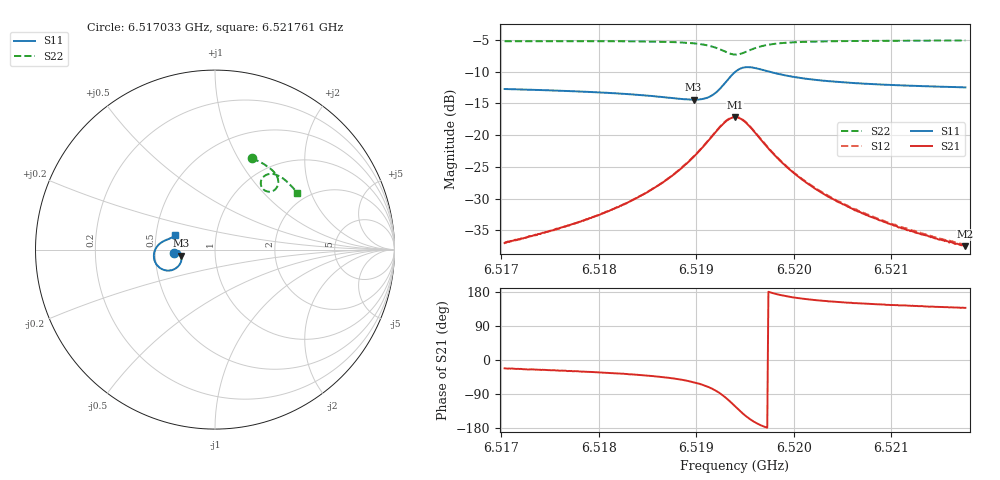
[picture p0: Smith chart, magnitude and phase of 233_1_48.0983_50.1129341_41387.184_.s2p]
#  HZ  S  RI  R  50.00
! Rohde & Schwarz Vector Network Analyzer
! Rohde-Schwarz,ZNB20-2Port,1311601062101988,3.16
! Created: UTC 12/23/2023, 3:57:59 AM
! freq[Hz]  re:S11  im:S11  re:S21  im:S21  re:S12  im:S12  re:S22  im:S22
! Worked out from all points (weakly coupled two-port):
!   401 points, 6.517033 GHz to 6.521761 GHz, reference 50 ohm
!   highest |S21| = -17.19 dB at 6.519397 GHz (marker M1); lowest = -37.5 dB at 6.521761 GHz (marker M2)
!   lowest |S11| = -14.4 dB at 6.518971 GHz (marker M3), VSWR 1.47, Z = 34.2 - j2.4 ohm
!   |S11| at or under -10 dB: start of sweep to 6.519402 GHz; 6.519745 GHz to end of sweep
!   |S22| runs from -7.3 to -5.1 dB; largest |S21 - S12| = 0.0044
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6.5170327e9  -0.23 -0.0164  0.0131 -0.00527  0.0133 -0.00506  0.2055 0.5083
6.51734e9  -0.2268 -0.0119  0.0148 -0.00688  0.0149 -0.00638  0.2282 0.499
6.5178246e9  -0.2199 -0.00611  0.0181 -0.0109  0.0185 -0.00998  0.2638 0.4811
6.518262e9  -0.2112 -0.00421  0.0229 -0.017  0.0237 -0.0164  0.2967 0.4604
6.5186165e9  -0.2004 -0.00901  0.0291 -0.0281  0.03 -0.0273  0.3242 0.4369
6.5188056e9  -0.1931 -0.0175  0.033 -0.0398  0.0344 -0.0389  0.3388 0.419
6.5189711e9  -0.1869 -0.0338  0.0351 -0.0574  0.037 -0.0567  0.3497 0.396
6.5190893e9  -0.1865 -0.055  0.0318 -0.078  0.0345 -0.0775  0.3527 0.3729
6.5191721e9  -0.1934 -0.0766  0.0222 -0.0975  0.0254 -0.0976  0.3479 0.3527
6.5193021e9  -0.236 -0.1129  -0.0214 -0.1263  -0.0178 -0.1281  0.3149 0.3242
6.5193966e9  -0.2939 -0.1096  -0.073 -0.1173  -0.0703 -0.1204  0.2749 0.3311
6.5194439e9  -0.3191 -0.091  -0.0935 -0.0985  -0.0914 -0.102  0.2608 0.3474
6.519503e9  -0.3372 -0.0593  -0.106 -0.069  -0.1048 -0.0726  0.2549 0.3715
6.5196094e9  -0.3363 -0.00885  -0.0998 -0.0257  -0.0999 -0.0289  0.2693 0.4048
6.5197157e9  -0.3199 0.0207  -0.0824 -0.00324  -0.0831 -0.00555  0.2923 0.4191
6.519964e9  -0.2864 0.047  -0.0514 0.0124  -0.0523 0.011  0.3347 0.4189
6.5201885e9  -0.2683 0.0551  -0.0367 0.0141  -0.0376 0.0133  0.3601 0.4082
6.520354e9  -0.2595 0.0587  -0.0296 0.0139  -0.0306 0.0132  0.375 0.3992
6.5206022e9  -0.2496 0.0629  -0.0228 0.013  -0.0235 0.0124  0.3939 0.3847
6.5209804e9  -0.239 0.0682  -0.0165 0.0114  -0.0171 0.0111  0.418 0.3622
6.521465e9  -0.2291 0.0748  -0.0119 0.00975  -0.0122 0.00963  0.4442 0.3329
6.5217605e9  -0.2239 0.0789  -0.00987 0.00899  -0.0103 0.00899  0.4588 0.3144
